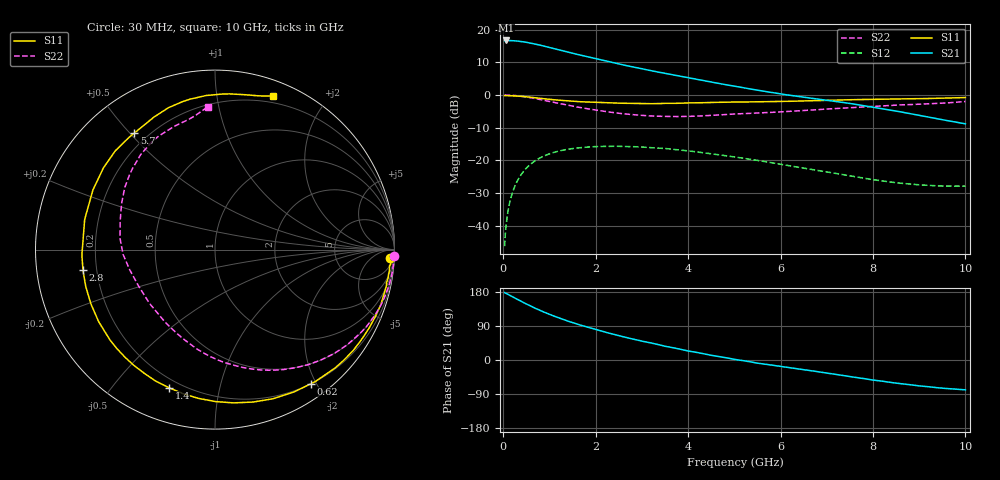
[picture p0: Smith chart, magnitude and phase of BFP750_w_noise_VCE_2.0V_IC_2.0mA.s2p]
! (c) 2016  Infineon Technologies AG, Munich
! Infineon Technologies  Discrete & RF Semiconductors
! BFP750
! VCE =  2.0 V,  IC =  2.0 mA
! Common Emitter S-Parameters:  Jan 2016
# GHz  S  MA  R  50
!  f  S11  S21  S12  S22
! GHz  MAG  ANG  MAG  ANG  MAG  ANG  MAG  ANG
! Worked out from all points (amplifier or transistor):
!   229 points, 30 MHz to 10 GHz, reference 50 ohm
!   highest |S21| = 16.7 dB at 60 MHz (marker M1)
!   |S21| within 3 dB of that: start of sweep to 1.244 GHz
!   unconditionally stable (mu >= 1): 5.946 GHz to end of sweep
!   at 280 MHz: K = 0.03, MSG = 21.7 dB, |S12| = -27.0 dB
!   at 1.78 GHz: K = 0.18, MSG = 13.9 dB, |S12| = -16.0 dB
!   at 10 GHz: K = 1.74, MAG = 4.5 dB, |S12| = -27.9 dB
!   lowest NFmin = 0.61 dB at 450 MHz
!   S11 on the Smith chart (normalised r, x): 30 MHz: 16, -35; 620 MHz: 0.20, -1.93; 1.4 GHz: 0.16, -0.71; 2.8 GHz: 0.15, -0.08; 5.7 GHz: 0.15, +0.51; 10 GHz: 0.14, +1.44
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0.03  0.978 -2.7  6.754 178.0  0.0049 87.5  0.9991 -1.9
0.06  0.9767 -5.2  6.813 175.9  0.0097 86.7  0.9987 -3.7
0.15  0.9743 -13.6  6.795 170.2  0.0244 81.0  0.9933 -9.3
0.3  0.9634 -27.1  6.679 160.5  0.0479 72.1  0.975 -18.4
0.48  0.9419 -42.8  6.417 149.1  0.0736 61.7  0.938 -28.9
0.62  0.9187 -54.4  6.141 140.8  0.091 53.8  0.9025 -36.7
0.8  0.8918 -68.7  5.772 130.7  0.11 44.7  0.8524 -46.2
1  0.8602 -83.1  5.328 120.5  0.1265 35.5  0.7959 -55.8
1.2  0.8338 -96.5  4.913 111.2  0.1391 27.2  0.7437 -64.7
1.4  0.8109 -108.5  4.523 102.6  0.1483 19.6  0.6965 -72.8
1.7  0.7878 -124.9  4.022 91.0  0.1576 9.6  0.6376 -83.9
1.94  0.7741 -136.5  3.662 82.4  0.162 2.3  0.5982 -92.1
2.2  0.7625 -148.2  3.33 73.6  0.1645 -5.1  0.5619 -100.6
2.8  0.7447 -171.1  2.689 55.4  0.1626 -20.3  0.5013 -119.3
3.4  0.7405 170.0  2.209 39.4  0.1535 -33.4  0.4726 -137.6
4  0.7569 154.0  1.837 23.8  0.1405 -45.3  0.4718 -154.7
4.5  0.7705 143.8  1.576 12.4  0.1267 -53.5  0.4887 -166.9
5.1  0.7819 133.7  1.327 0.0  0.1106 -61.3  0.5155 -179.0
5.7  0.7894 124.7  1.123 -11.5  0.0951 -67.6  0.5383 169.2
6.8  0.8231 110.8  0.868 -30.7  0.0705 -73.7  0.5968 148.7
8.4  0.8675 87.4  0.584 -59.4  0.0466 -69.4  0.6963 120.2
10  0.9148 69.4  0.363 -78.7  0.0405 -53.5  0.7957 93.0
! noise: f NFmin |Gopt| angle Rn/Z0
0.45  0.61  0.56  1  0.26
0.9  0.69  0.53  35  0.2
1.5  0.83  0.46  73  0.16
1.9  0.94  0.43  94  0.13
2.4  1.1  0.41  119  0.13
3.5  1.68  0.43  163  0.08
